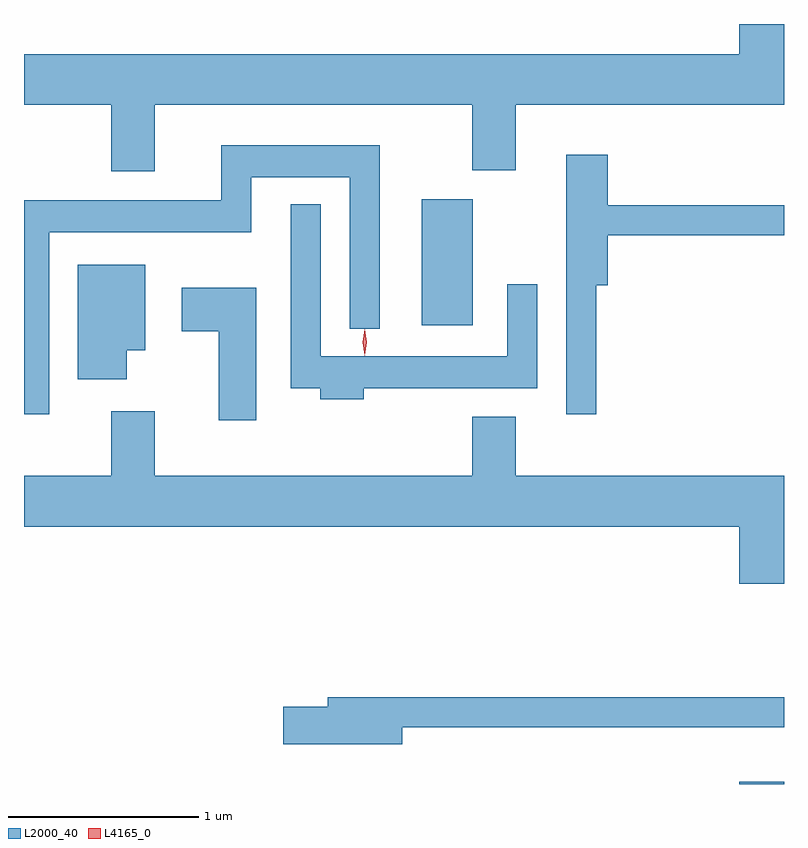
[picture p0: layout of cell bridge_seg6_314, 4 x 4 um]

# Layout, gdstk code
import gdstk
lib = gdstk.Library(unit=1e-6, precision=1e-09)
def R(c, l, rs):  # rectangles x0, y0, x1, y1
    for r in rs: c.add(gdstk.rectangle(r[:2], r[2:], *l))
def P(c, l, *ps):  # polygons
    for p in ps: c.add(gdstk.Polygon(p, *l))
L2000_40 = (2000, 40)
L4165_0 = (4165, 0)

bridge_seg6_314 = lib.new_cell('bridge_seg6_314')
R(bridge_seg6_314, L2000_40, [(1274.016,1542.022,1274.252,1542.034), (1272.346,1544.436,1272.614,1545.099)])
P(bridge_seg6_314, L2000_40, [(1270.939,1545.596),(1272.611,1545.596),(1272.611,1545.251),(1272.839,1545.251),(1272.839,1545.596),(1274.252,1545.596),(1274.252,1546.022),(1274.016,1546.022),(1274.016,1545.864),(1270.252,1545.864),(1270.252,1545.596),(1270.711,1545.596),(1270.711,1545.246),(1270.939,1545.246)],
  [(1270.384,1544.926),(1271.449,1544.926),(1271.449,1545.216),(1271.966,1545.216),(1271.966,1544.418),(1272.124,1544.418),(1272.124,1545.384),(1271.291,1545.384),(1271.291,1545.094),(1270.252,1545.094),(1270.252,1543.968),(1270.384,1543.968)],
  [(1273.264,1544.646),(1273.324,1544.646),(1273.324,1544.911),(1274.252,1544.911),(1274.252,1545.069),(1273.324,1545.069),(1273.324,1545.334),(1273.106,1545.334),(1273.106,1543.968),(1273.264,1543.968)],
  [(1272.039,1544.106),(1272.954,1544.106),(1272.954,1544.653),(1272.796,1544.653),(1272.796,1544.274),(1271.814,1544.274),(1271.814,1545.073),(1271.656,1545.073),(1271.656,1544.106),(1271.811,1544.106),(1271.811,1544.046),(1272.039,1544.046)],
  [(1270.794,1544.306),(1270.889,1544.306),(1270.889,1544.754),(1270.536,1544.754),(1270.536,1544.151),(1270.794,1544.151)],
  [(1271.474,1544.634),(1271.081,1544.634),(1271.081,1544.406),(1271.276,1544.406),(1271.276,1543.936),(1271.474,1543.936)],
  [(1274.252,1543.644),(1272.839,1543.644),(1272.839,1543.954),(1272.611,1543.954),(1272.611,1543.644),(1270.939,1543.644),(1270.939,1543.984),(1270.711,1543.984),(1270.711,1543.644),(1270.252,1543.644),(1270.252,1543.376),(1274.016,1543.376),(1274.016,1543.076),(1274.252,1543.076)],
  [(1272.244,1542.321),(1274.252,1542.321),(1274.252,1542.479),(1271.851,1542.479),(1271.851,1542.429),(1271.616,1542.429),(1271.616,1542.231),(1272.244,1542.231)])
P(bridge_seg6_314, L4165_0, [(1272.045,1544.277),(1272.045,1544.278),(1272.035,1544.347),(1272.045,1544.416),(1272.045,1544.416),(1272.046,1544.416),(1272.055,1544.347),(1272.046,1544.278)],
  [(1272.045,1544.28),(1272.045,1544.28),(1272.035,1544.346),(1272.045,1544.412),(1272.045,1544.413),(1272.046,1544.412),(1272.055,1544.346),(1272.046,1544.28)])

lib.write_gds('bridge_seg6_314.gds')
